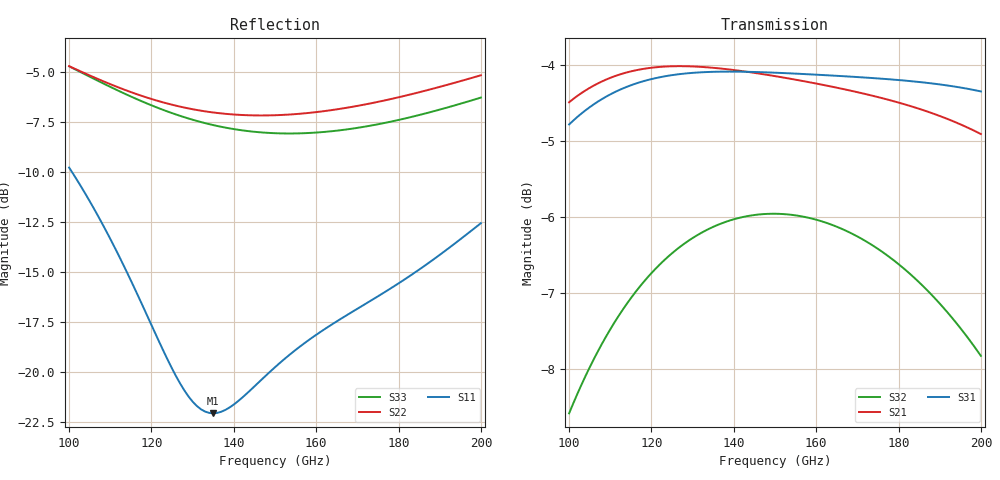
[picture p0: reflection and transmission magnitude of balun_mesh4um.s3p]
! Created with skrf 2.1.0 (http://scikit-rf.org).
# GHz S DB R 50.0
! Port[1] = P1
! Port[2] = P2
! Port[3] = P3
!freq dBS11 angS11 dBS12 angS12 dBS13 angS13
! dBS21 angS21 dBS22 angS22 dBS23 angS23
! dBS31 angS31 dBS32 angS32 dBS33 angS33
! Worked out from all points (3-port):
!   101 points, 100 GHz to 200 GHz, reference 50 ohm
!   strongest paths, dB at 100 GHz, 125 GHz, 150 GHz, 175 GHz, 200 GHz:
!     S31: -4.8, -4.1, -4.1, -4.2, -4.4
!     S21: -4.5, -4.0, -4.2, -4.4, -4.9
!     S32: -8.6, -6.5, -6.0, -6.4, -7.8
!   lowest |S11| = -22.0 dB at 135 GHz (marker M1), VSWR 1.17, Z = 42.8 + j1.56 ohm
!   |S11| at or under -10 dB: 100.8 GHz to end of sweep
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100  -9.76 131.8  -4.49 -15.1  -4.79 160.5
     -4.49 -15.1  -4.69 59.9  -8.58 89.5
     -4.79 160.5  -8.58 89.5  -4.69 48.7
112  -14.13 124.3  -4.13 -34.0  -4.34 140.4
     -4.13 -34.0  -5.75 49.3  -7.30 70.6
     -4.34 140.4  -7.30 70.6  -5.92 35.9
127  -20.57 141.2  -4.02 -55.3  -4.12 117.5
     -4.02 -55.3  -6.71 38.2  -6.39 49.0
     -4.12 117.5  -6.39 49.0  -7.17 22.6
131  -21.68 153.4  -4.03 -60.6  -4.10 111.8
     -4.03 -60.6  -6.88 35.4  -6.24 43.5
     -4.10 111.8  -6.24 43.5  -7.42 19.5
135  -22.05 166.8  -4.04 -65.8  -4.09 106.3
     -4.04 -65.8  -7.00 32.7  -6.13 38.2
     -4.09 106.3  -6.13 38.2  -7.63 16.4
150  -19.74 -162.7  -4.15 -84.3  -4.11 86.4
     -4.15 -84.3  -7.14 21.9  -5.96 19.1
     -4.11 86.4  -5.96 19.1  -8.04 5.1
161  -17.98 -155.3  -4.26 -97.4  -4.13 72.5
     -4.26 -97.4  -6.96 13.4  -6.05 5.8
     -4.13 72.5  -6.05 5.8  -7.99 -3.4
173  -16.45 -150.7  -4.40 -111.4  -4.17 57.6
     -4.40 -111.4  -6.56 3.2  -6.35 -8.4
     -4.17 57.6  -6.35 -8.4  -7.67 -13.2
187  -14.57 -147.2  -4.62 -128.0  -4.24 40.2
     -4.62 -128.0  -5.89 -9.8  -6.97 -24.8
     -4.24 40.2  -6.97 -24.8  -7.02 -25.4
200  -12.54 -147.6  -4.91 -143.8  -4.35 23.6
     -4.91 -143.8  -5.14 -22.7  -7.82 -40.1
     -4.35 23.6  -7.82 -40.1  -6.26 -37.5
